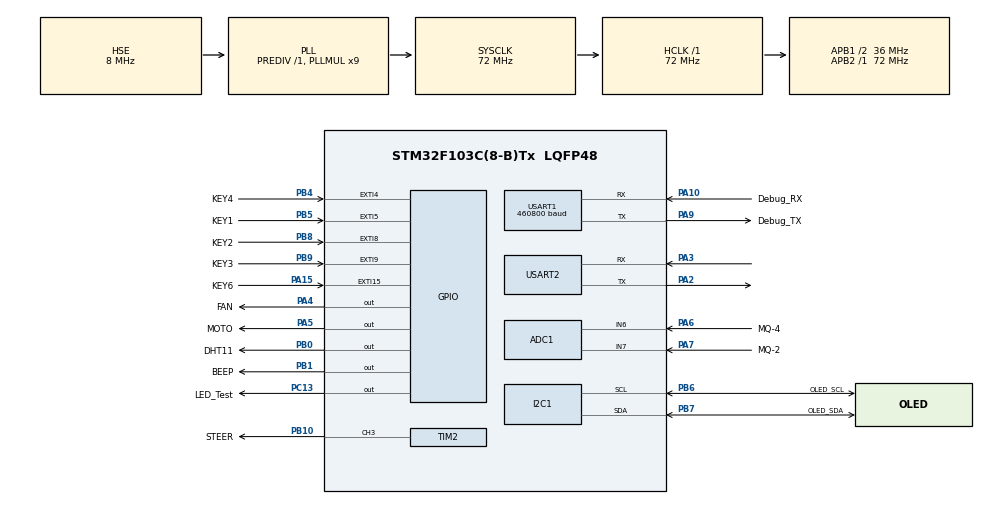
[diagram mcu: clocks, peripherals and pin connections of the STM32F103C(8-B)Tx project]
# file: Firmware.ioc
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ADC1.Channel-0\#ChannelRegularConversion=ADC_CHANNEL_7
ADC1.NbrOfConversionFlag=1
ADC1.Rank-0\#ChannelRegularConversion=1
ADC1.SamplingTime-0\#ChannelRegularConversion=ADC_SAMPLETIME_1CYCLE_5
ADC1.master=1
Mcu.Family=STM32F1
Mcu.Name=STM32F103C(8-B)Tx
Mcu.Package=LQFP48
NVIC.EXTI15_10_IRQn=true\:0\:0\:false\:false\:true\:true\:true\:true
NVIC.EXTI4_IRQn=true\:0\:0\:false\:false\:true\:true\:true\:true
NVIC.EXTI9_5_IRQn=true\:0\:0\:false\:false\:true\:true\:true\:true
NVIC.PriorityGroup=NVIC_PRIORITYGROUP_4
NVIC.USART2_IRQn=true\:0\:0\:false\:false\:true\:true\:true\:true
PA10.GPIO_Label=Debug_RX
PA10.Mode=Asynchronous
PA10.Signal=USART1_RX
PA13.Mode=Serial_Wire
PA13.Signal=SYS_JTMS-SWDIO
PA14.Mode=Serial_Wire
PA14.Signal=SYS_JTCK-SWCLK
PA15.GPIO_Label=KEY6
PA15.GPIO_ModeDefaultEXTI=GPIO_MODE_IT_FALLING
PA15.GPIO_PuPd=GPIO_PULLUP
PA15.Signal=GPXTI15
PA2.Mode=Asynchronous
PA2.Signal=USART2_TX
PA3.Mode=Asynchronous
PA3.Signal=USART2_RX
PA4.GPIO_Label=FAN
PA4.Signal=GPIO_Output
PA5.GPIO_Label=MOTO
PA5.Signal=GPIO_Output
PA6.GPIO_Label=MQ-4
PA6.Signal=ADCx_IN6
PA7.GPIO_Label=MQ-2
PA7.Signal=ADCx_IN7
PA9.GPIO_Label=Debug_TX
PA9.Mode=Asynchronous
PA9.Signal=USART1_TX
PB0.GPIO_Label=DHT11
PB0.Signal=GPIO_Output
PB1.GPIO_Label=BEEP
PB1.Signal=GPIO_Output
PB10.GPIO_Label=STEER
PB10.Signal=S_TIM2_CH3
PB4.GPIO_Label=KEY4
PB4.GPIO_ModeDefaultEXTI=GPIO_MODE_IT_FALLING
PB4.GPIO_PuPd=GPIO_PULLUP
PB4.Signal=GPXTI4
PB5.GPIO_Label=KEY1
PB5.GPIO_ModeDefaultEXTI=GPIO_MODE_IT_FALLING
PB5.GPIO_PuPd=GPIO_PULLUP
PB5.Signal=GPXTI5
PB6.GPIO_Label=OLED_SCL
PB6.Mode=I2C
PB6.Signal=I2C1_SCL
PB7.GPIO_Label=OLED_SDA
PB7.Mode=I2C
PB7.Signal=I2C1_SDA
PB8.GPIO_Label=KEY2
PB8.GPIO_ModeDefaultEXTI=GPIO_MODE_IT_FALLING
PB8.GPIO_PuPd=GPIO_PULLUP
PB8.Signal=GPXTI8
PB9.GPIO_Label=KEY3
PB9.GPIO_ModeDefaultEXTI=GPIO_MODE_IT_FALLING
PB9.GPIO_PuPd=GPIO_PULLUP
PB9.Signal=GPXTI9
PC13-TAMPER-RTC.GPIO_Label=LED_Test
PC13-TAMPER-RTC.Signal=GPIO_Output
PD0-OSC_IN.Mode=HSE-External-Oscillator
PD0-OSC_IN.Signal=RCC_OSC_IN
PD1-OSC_OUT.Mode=HSE-External-Oscillator
PD1-OSC_OUT.Signal=RCC_OSC_OUT
ProjectManager.HeapSize=0x200
ProjectManager.StackSize=0x400
ProjectManager.TargetToolchain=STM32CubeIDE
RCC.ADCPresc=RCC_ADCPCLK2_DIV6
RCC.AHBFreq_Value=72000000
RCC.APB1CLKDivider=RCC_HCLK_DIV2
RCC.APB1Freq_Value=36000000
RCC.APB1TimFreq_Value=72000000
RCC.APB2Freq_Value=72000000
RCC.APB2TimFreq_Value=72000000
RCC.HCLKFreq_Value=72000000
RCC.PLLMUL=RCC_PLL_MUL9
RCC.PLLSourceVirtual=RCC_PLLSOURCE_HSE
RCC.SYSCLKFreq_VALUE=72000000
RCC.SYSCLKSource=RCC_SYSCLKSOURCE_PLLCLK
RCC.USBFreq_Value=72000000
SH.ADCx_IN6.0=ADC1_IN6,IN6
SH.ADCx_IN7.0=ADC1_IN7,IN7
SH.S_TIM2_CH3.0=TIM2_CH3,PWM Generation3 CH3
TIM2.Channel-PWM\ Generation3\ CH3=TIM_CHANNEL_3
TIM2.Period=1999
TIM2.Prescaler=719
USART1.BaudRate=460800
USART1.VirtualMode=VM_ASYNC
USART2.VirtualMode=VM_ASYNC
VP_TIM2_VS_ClockSourceINT.Mode=Internal
board=custom

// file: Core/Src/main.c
/* USER CODE BEGIN Header */
/**
  ******************************************************************************
  * @file           : main.c
  * @brief          : Main program body
  ******************************************************************************
  * @attention
  *
  * Copyright (c) 2024 STMicroelectronics.
  * All rights reserved.
  *
  * This software is licensed under terms that can be found in the LICENSE file
  * in the root directory of this software component.
  * If no LICENSE file comes with this software, it is provided AS-IS.
  *
  ******************************************************************************
  */
/* USER CODE END Header */
#include "main.h"
#include "adc.h"
#include "i2c.h"
#include "tim.h"
#include "usart.h"
#include "gpio.h"

/* USER CODE BEGIN Includes */
#include "retarget.h"
#include "OLED.h"
#include "DHT11.h"
#include "BEEP.h"
#include "esp8266.h"
#include "onenet.h"
#include "MqttKit.h"
#include "Control.h"
#include "string.h"
/* USER CODE END Includes */

/* USER CODE BEGIN PTD */
extern unsigned char aRxBuffer;
extern unsigned char ESP01S_buf[64];
extern unsigned short ESP01S_cnt, ESP01S_cntPre;
/* USER CODE END PTD */

void SystemClock_Config(void);

int main(void)
{
  /* USER CODE BEGIN 1 */
    const char *devSubTopic[] = {"/mysmartkitchen/sub"};
    const char devPubTopic[] = "/mysmartkitchen/pub";
    unsigned short timeCount = 0;	//
    char PUB_BUF[128];//上传数据的PUB
    unsigned char *dataPtr = NULL;

  /* USER CODE END 1 */

  /* MCU Configuration--------------------------------------------------------*/

  /* Reset of all peripherals, Initializes the Flash interface and the Systick. */
  HAL_Init();

  /* Configure the system clock */
  SystemClock_Config();

  /* Initialize all configured peripherals */
  MX_GPIO_Init();
  MX_ADC1_Init();
  MX_I2C1_Init();
  MX_TIM2_Init();
  MX_USART1_UART_Init();
  MX_USART2_UART_Init();
  /* USER CODE BEGIN 2 */
  RetargetInit(&huart1);
  BEEP_Init();
  OLED_Init();                           //OLED初始
  OLED_Clear();                         //清屏
  Steer_Init();
  FUN_Cotrol(0);
  Water_Cotrol(0);

  printf("USART1 Init OK!\r\n");
  HAL_UART_Receive_IT(&huart2, &aRxBuffer, 1); // 启动中断接收
  ESP01S_Init();  //8266初始
  while(OneNet_DevLink())  //接入onenet
  ESP01S_Clear();    //*/
  OneNet_Subscribe(devSubTopic, 1);

  OLED_ShowString(10,7,"Tem",12, 0);
  OLED_ShowString(40,7,"Hum",12, 0);
  OLED_ShowString(70,7,"MQ2",12, 0);
  OLED_ShowString(100,7,"MQ4",12, 0);

  OLED_ShowString(80, 0,"TemT:", 12, 0);
  OLED_ShowString(80, 2, "MQ2T:", 12, 0);
  OLED_ShowString(80, 4, "MQ4T:", 12, 0);

//  printf("Init is OK!\r\n");
  /* USER CODE END 2 */

  /* Infinite loop */
  /* USER CODE BEGIN WHILE */

  while (1)
  {

//      Steer_Angle(50);
//      HAL_Delay(3000);
//      Steer_Angle(90);
//      HAL_Delay(3000);
////
//      printf("%d\r\n", HAL_GPIO_ReadPin(GPIOB, KEY6_Pin));
//      printf("%d\r\n",temperature_threshold);
//      printf("%d,%d,%d\r\n", HAL_GPIO_ReadPin(GPIOB,GPIO_PIN_5),HAL_GPIO_ReadPin(GPIOB,GPIO_PIN_8),HAL_GPIO_ReadPin(GPIOB,GPIO_PIN_9));
      OLED_Show();
      Update_System_Status();
//      printf("%d\r\n",temperature);x
//      printf("%d,%d\r\n",Tem_Flag,MQ2_Flag);z
//      HAL_GPIO_TogglePin(GPIOA,GPIO_PIN_1);

//      ADC_MQ4 = HAL_ADC_GetValue(&hadc1);
//      printf("MQ2:%d,MQ4:%d\r\n",ADC_MQ2,ADC_MQ4);
      if(Flash_Flag == 1)//温度LED
      {
          HAL_GPIO_TogglePin(GPIOA,GPIO_PIN_1);//第一个LED
      }

      if(Flash_Flag == 2)//烟雾LED
      {
          HAL_GPIO_TogglePin(GPIOA,GPIO_PIN_0);//第二个LED
      }

      if(Flash_Flag == 3)//燃气LED
      {
          HAL_GPIO_TogglePin(GPIOB,GPIO_PIN_11);//第三个LED
      }

      if(++timeCount >= 100)

      {
          sprintf(PUB_BUF,"{\"Temp\":%d,\"Hum\":%d,\"MQ2\":%d,\"MQ4\":%d}",
                  temperature,humidity,ADC_MQ2,ADC_MQ4);
          OneNet_Publish(devPubTopic, PUB_BUF);

          timeCount = 0;
          ESP01S_Clear();
      }

      dataPtr = ESP01S_GetIPD(3);
      if(dataPtr != NULL)
          OneNet_RevPro(dataPtr);
//
      HAL_Delay(10);
      /*****继电�???????????????????????????-风扇、电�???????????????????????????
          MOTO_Cotrol(1);
          FUN_Cotrol(1);
       ***/

    /************舵机

           Steer_Angle(50);
          HAL_Delay(1000);

          Steer_Angle(100);
          HAL_Delay(1000);

          Steer_Angle(150);
          HAL_Delay(1000);

     ******************/

      /*********蜂鸣�????????????????????????????

        Buzzer_Beep(uint32_t onTimeMs, uint32_t offTimeMs, uint8_t repetitions);
        BEEP_Init();
        BEEP_On();
        BEEP_Off();

       ***********/

      /*****MQ-2烟雾

      HAL_ADCEx_Calibration_Start(&hadc1);//ADC采样校准
      ADC_MQ2 = ADC_IN_1();
      printf("%d\r\n",ADC_MQ2);

       **********/

      /************DHT11温湿度读�?????????????????????????????

      DHT11_Read_Data(&temperature , &humidity);
      //将数据存放到aTXbuf这个数组当中去�?? 不了�?????????????????????????????"sprintf"用法的可以去查一�?????????????????????????????...
      sprintf((char*)aTXbuf,"温度�?????????????????????????????%d℃，湿度: %d %%\r\n" ,temperature ,humidity);
      //将数据过串口发到主机上的串口助手
      HAL_UART_Transmit(&huart1, aTXbuf, strlen((const char*)aTXbuf), 200);
      HAL_Delay(500);

       **********/

      /**************上传MQTT

       if(++timeCount >= 50)									//发�?�间�????????????????????????????????5s
      {

          printf("OneNet_Publish\r\n");

          OneNet_Publish("pcTopic", "MQTT Publish Test");

          timeCount = 0;
          ESP01S_Clear();
      }
      dataPtr = ESP01S_GetIPD(0);

      if(dataPtr != NULL)
          OneNet_RevPro(dataPtr);

       ******************/

    /* USER CODE END WHILE */

  }
}

void SystemClock_Config(void)
{
  RCC_OscInitTypeDef RCC_OscInitStruct = {0};
  RCC_ClkInitTypeDef RCC_ClkInitStruct = {0};
  RCC_PeriphCLKInitTypeDef PeriphClkInit = {0};

  /** Initializes the RCC Oscillators according to the specified parameters
  * in the RCC_OscInitTypeDef structure.
  */
  RCC_OscInitStruct.OscillatorType = RCC_OSCILLATORTYPE_HSE;
  RCC_OscInitStruct.HSEState = RCC_HSE_ON;
  RCC_OscInitStruct.HSEPredivValue = RCC_HSE_PREDIV_DIV1;
  RCC_OscInitStruct.HSIState = RCC_HSI_ON;
  RCC_OscInitStruct.PLL.PLLState = RCC_PLL_ON;
  RCC_OscInitStruct.PLL.PLLSource = RCC_PLLSOURCE_HSE;
  RCC_OscInitStruct.PLL.PLLMUL = RCC_PLL_MUL9;
  if (HAL_RCC_OscConfig(&RCC_OscInitStruct) != HAL_OK)
  {
    Error_Handler();
  }

  /** Initializes the CPU, AHB and APB buses clocks
  */
  RCC_ClkInitStruct.ClockType = RCC_CLOCKTYPE_HCLK|RCC_CLOCKTYPE_SYSCLK
                              |RCC_CLOCKTYPE_PCLK1|RCC_CLOCKTYPE_PCLK2;
  RCC_ClkInitStruct.SYSCLKSource = RCC_SYSCLKSOURCE_PLLCLK;
  RCC_ClkInitStruct.AHBCLKDivider = RCC_SYSCLK_DIV1;
  RCC_ClkInitStruct.APB1CLKDivider = RCC_HCLK_DIV2;
  RCC_ClkInitStruct.APB2CLKDivider = RCC_HCLK_DIV1;

  if (HAL_RCC_ClockConfig(&RCC_ClkInitStruct, FLASH_LATENCY_2) != HAL_OK)
  {
    Error_Handler();
  }
  PeriphClkInit.PeriphClockSelection = RCC_PERIPHCLK_ADC;
  PeriphClkInit.AdcClockSelection = RCC_ADCPCLK2_DIV6;
  if (HAL_RCCEx_PeriphCLKConfig(&PeriphClkInit) != HAL_OK)
  {
    Error_Handler();
  }
}

/* USER CODE BEGIN 4 */
void HAL_UART_RxCpltCallback(UART_HandleTypeDef *huart)
{

    if(ESP01S_cnt >= sizeof(ESP01S_buf))  //溢出判断
    {
        ESP01S_cnt = 0;
        memset(ESP01S_buf,0x00,sizeof(ESP01S_buf));
//        HAL_UART_Transmit(&huart1, (uint8_t *)"接收缓存溢出", 10,0xFFFF);
    }
    else
    {
        ESP01S_buf[ESP01S_cnt++] = aRxBuffer;   //接收数据转存
//		  if(aRxBuffer=='1')  HAL_GPIO_WritePin(LED_GPIO_Port,LED_Pin,GPIO_PIN_SET);
//        if(aRxBuffer=='0')  HAL_GPIO_WritePin(LED_GPIO_Port,LED_Pin,GPIO_PIN_RESET);
    }

    HAL_UART_Receive_IT(&huart2, &aRxBuffer, 1);   //再开启接收中�????????????????????????????????
}

/* USER CODE END 4 */

void Error_Handler(void)
{
  __disable_irq();
  while (1)
  {
  }
}
